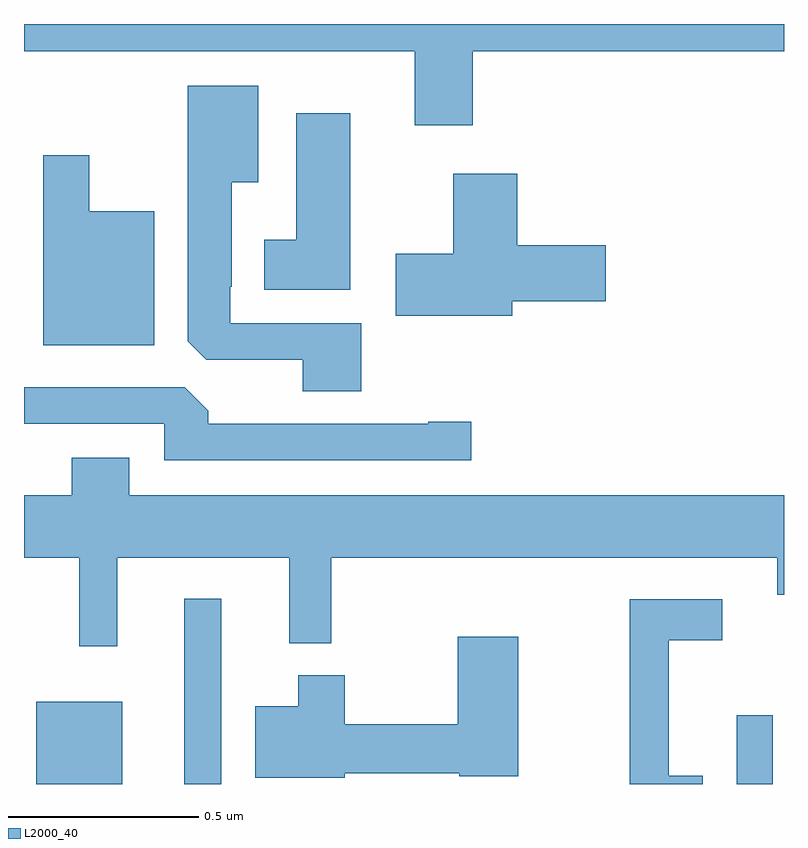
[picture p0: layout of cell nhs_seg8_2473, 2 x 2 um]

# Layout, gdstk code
import gdstk
lib = gdstk.Library(unit=1e-6, precision=1e-09)
def R(c, l, rs):  # rectangles x0, y0, x1, y1
    for r in rs: c.add(gdstk.rectangle(r[:2], r[2:], *l))
def P(c, l, *ps):  # polygons
    for p in ps: c.add(gdstk.Polygon(p, *l))
L2000_40 = (2000, 40)

nhs_seg8_2473 = lib.new_cell('nhs_seg8_2473')
R(nhs_seg8_2473, L2000_40, [(144.032,1119.9,144.259,1120.117), (144.422,1119.9,144.519,1120.387), (145.875,1119.9,145.971,1120.081)])
P(nhs_seg8_2473, L2000_40, [(145.181,1121.828),(146,1121.828),(146,1121.9),(144,1121.9),(144,1121.828),(145.028,1121.828),(145.028,1121.634),(145.181,1121.634)],
  [(144.887,1121.112),(144.543,1121.112),(144.543,1121.209),(144.547,1121.209),(144.547,1121.483),(144.616,1121.483),(144.616,1121.737),(144.431,1121.737),(144.431,1121.065),(144.48,1121.016),(144.734,1121.016),(144.734,1120.933),(144.887,1120.933)],
  [(144.859,1121.665),(144.716,1121.665),(144.716,1121.332),(144.632,1121.332),(144.632,1121.201),(144.859,1121.201)],
  [(144.343,1121.407),(144.172,1121.407),(144.172,1121.554),(144.05,1121.554),(144.05,1121.054),(144.343,1121.054)],
  [(145.285,1121.171),(145.531,1121.171),(145.531,1121.318),(145.298,1121.318),(145.298,1121.506),(145.13,1121.506),(145.13,1121.295),(144.978,1121.295),(144.978,1121.132),(145.285,1121.132)],
  [(145.177,1120.853),(145.064,1120.853),(145.064,1120.848),(144.485,1120.848),(144.485,1120.882),(144.423,1120.944),(144,1120.944),(144,1120.848),(144.369,1120.848),(144.369,1120.752),(145.177,1120.752)],
  [(144.245,1120.496),(144.698,1120.496),(144.698,1120.271),(144.808,1120.271),(144.808,1120.496),(145.982,1120.496),(145.982,1120.398),(146,1120.398),(146,1120.66),(144.277,1120.66),(144.277,1120.759),(144.125,1120.759),(144.125,1120.66),(144,1120.66),(144,1120.496),(144.145,1120.496),(144.145,1120.263),(144.245,1120.263)],
  [(145.786,1119.922),(145.697,1119.922),(145.697,1120.278),(145.837,1120.278),(145.837,1120.386),(145.594,1120.386),(145.594,1119.9),(145.786,1119.9)],
  [(144.844,1119.928),(145.146,1119.928),(145.146,1119.92),(145.3,1119.92),(145.3,1120.288),(145.142,1120.288),(145.142,1120.057),(144.844,1120.057),(144.844,1120.186),(144.722,1120.186),(144.722,1120.105),(144.608,1120.105),(144.608,1119.917),(144.844,1119.917)])

lib.write_gds('nhs_seg8_2473.gds')
